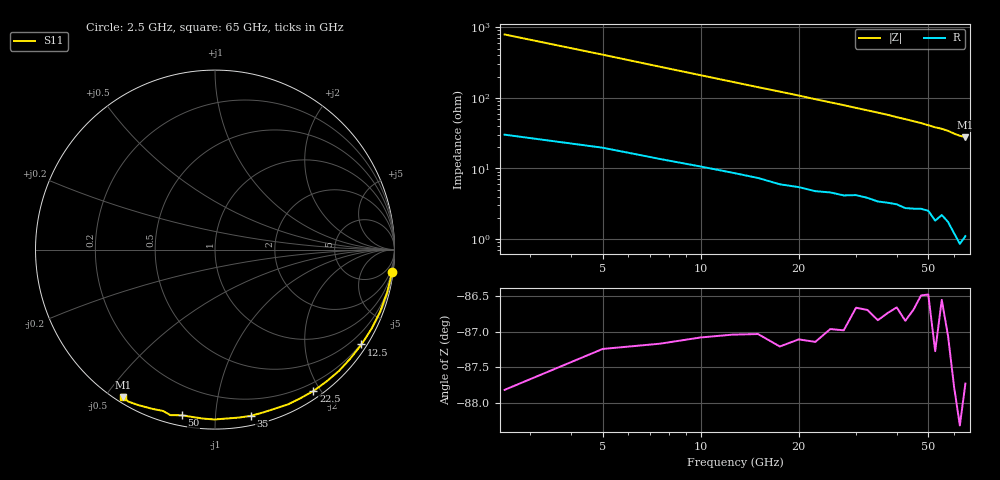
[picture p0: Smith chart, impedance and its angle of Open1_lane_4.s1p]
! File created by SignalIntegrity v1.5.1: Signal and Power Integrity Tools
! https://github.com/Nubis-Communications/SignalIntegrity
# MHz S MA R 50.0
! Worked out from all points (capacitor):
!   26 points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, 2.5 GHz to 65 GHz, reference 50 ohm
!   read as one part to ground: C = 77.9 fF near 2.5 GHz
!   lowest |Z| = 27.8 ohm at 65 GHz (marker M1)
!   S11 on the Smith chart (normalised r, x): 2.5 GHz: 1, -16; 12.5 GHz: 0.17, -3.37; 22.5 GHz: 0.10, -1.91; 35 GHz: 0.07, -1.23; 50 GHz: 0.05, -0.82; 65 GHz: 0.02, -0.56
2500  0.9952 -7.2
5000  0.9885 -13.9
7500  0.9828 -20.5
10000  0.9773 -26.8
12500  0.9723 -32.9
15000  0.968 -38.8
17500  0.9665 -44.3
20000  0.9622 -49.7
22500  0.9599 -55.1
25000  0.9551 -60.1
27500  0.9535 -64.7
30000  0.9469 -69.5
32500  0.9461 -73.8
35000  0.9475 -77.9
37500  0.9452 -81.9
40000  0.9435 -86.3
42500  0.9465 -90.0
45000  0.944 -93.8
47500  0.9411 -97.4
50000  0.9415 -101.4
52500  0.9551 -105.1
55000  0.9443 -107.8
57500  0.9534 -111.4
60000  0.9657 -116.2
62500  0.9748 -119.7
65000  0.9669 -121.9
